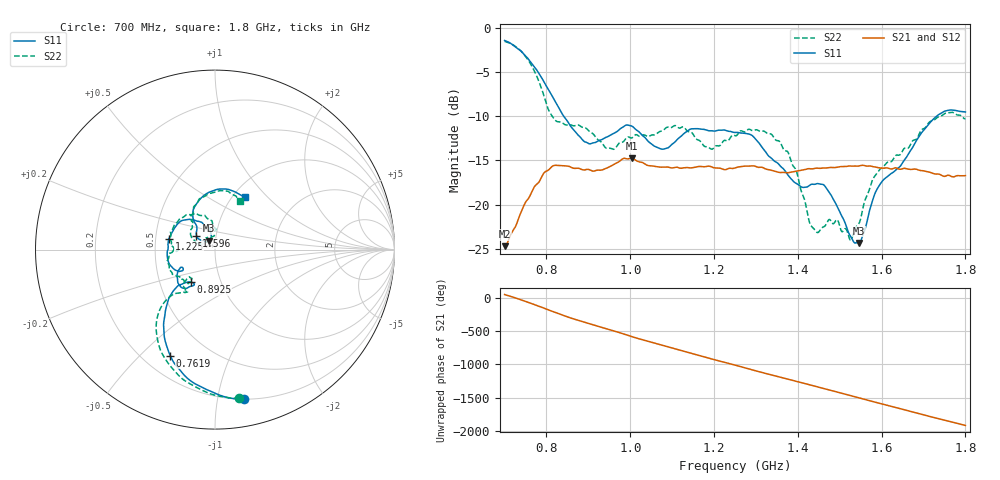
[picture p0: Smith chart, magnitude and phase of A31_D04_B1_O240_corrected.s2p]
! Created with skrf 1.9.0 (http://scikit-rf.org).
# Hz S RI R 50.0
!freq ReS11 ImS11 ReS21 ImS21 ReS12 ImS12 ReS22 ImS22
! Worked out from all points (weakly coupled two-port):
!   1601 points, 700 MHz to 1.8 GHz, reference 50 ohm
!   highest |S21| = -14.75 dB at 1.003 GHz (marker M1); lowest = -24.7 dB at 700 MHz (marker M2)
!   lowest |S11| = -24.4 dB at 1.546 GHz (marker M3), VSWR 1.13, Z = 46.4 + j4.59 ohm
!   |S11| at or under -10 dB: 841.2 MHz to 1.731 GHz (889.9 MHz wide, 69.2 % of centre)
!   |S22| runs from -24.0 to -1.5 dB; largest |S21 - S12| = 0.0033
!   S11 on the Smith chart (normalised r, x): 700 MHz: 0.20, -1.19; 761.9 MHz: 0.31, -0.62; 892.5 MHz: 0.72, -0.28; 1.225 GHz: 0.59, +0.08; 1.596 GHz: 0.80, +0.13; 1.8 GHz: 1.13, +0.74
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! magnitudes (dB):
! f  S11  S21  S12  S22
! 700 MHz  -1.4  -24.7  -24.5  -1.5
! 761.9 MHz  -3.9  -18.9  -18.8  -4.1
! 817.6 MHz  -8.0  -15.6  -15.7  -10.3
! 883.6 MHz  -12.5  -16.0  -15.9  -11.2
! 892.5 MHz  -12.9  -16.1  -16.1  -11.3
! 945.4 MHz  -12.3  -15.8  -15.9  -13.6
! 1.003 GHz  -11.1  -14.7  -14.9  -12.5
! 1.067 GHz  -13.6  -15.7  -15.7  -11.8
! 1.145 GHz  -11.4  -15.9  -15.9  -11.8
! 1.192 GHz  -11.6  -15.7  -15.7  -13.7
! 1.225 GHz  -11.6  -16.1  -16.0  -12.7
! 1.25 GHz  -11.8  -15.9  -15.8  -12.2
! 1.357 GHz  -15.6  -16.4  -16.3  -12.9
! 1.396 GHz  -17.6  -16.2  -16.2  -16.1
! 1.434 GHz  -17.7  -16.0  -15.9  -22.5
! 1.468 GHz  -18.1  -15.9  -15.8  -22.2
! 1.526 GHz  -23.6  -15.6  -15.6  -24.0
! 1.546 GHz  -24.4  -15.6  -15.6  -22.1
! 1.596 GHz  -17.7  -15.9  -15.8  -16.0
! 1.617 GHz  -16.7  -15.9  -15.9  -15.2
! 1.731 GHz  -10.0  -16.5  -16.5  -10.2
! 1.8 GHz  -9.5  -16.7  -16.7  -10.3
